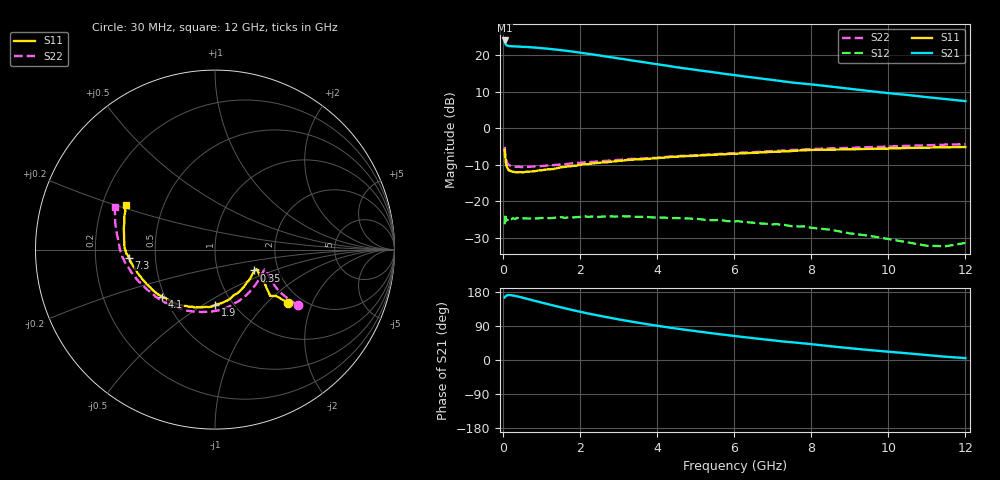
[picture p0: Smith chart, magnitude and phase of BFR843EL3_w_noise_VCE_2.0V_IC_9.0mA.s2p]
! Infineon Technologies  Discrete & RF Semiconductors
! BFR843EL3
! VCE =  2.0 V,  IC =  9.0 mA
! Common Emitter S-Parameters:  Aug 2013
# GHz  S  MA  R  50
!  f  S11  S21  S12  S22
! GHz  MAG  ANG  MAG  ANG  MAG  ANG  MAG  ANG
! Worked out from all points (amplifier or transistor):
!   103 points, 30 MHz to 12 GHz, reference 50 ohm
!   highest |S21| = 24.1 dB at 30 MHz (marker M1)
!   |S21| within 3 dB of that: start of sweep to 1.751 GHz
!   unconditionally stable (mu >= 1): 5.658 GHz to end of sweep
!   at 400 MHz: K = 0.99, MSG = 23.6 dB, |S12| = -24.8 dB
!   at 3.7 GHz: K = 0.84, MSG = 21.2 dB, |S12| = -24.3 dB
!   at 12 GHz: K = 3.49, MAG = 11.1 dB, |S12| = -31.5 dB
!   lowest NFmin = 0.88 dB at 450 MHz
!   S11 on the Smith chart (normalised r, x): 30 MHz: 1.69, -1.36; 350 MHz: 1.50, -0.37; 1.9 GHz: 0.83, -0.56; 4.1 GHz: 0.49, -0.30; 7.3 GHz: 0.35, -0.04; 12 GHz: 0.30, +0.22
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0.03  0.5054 -36.2  16.05 164.9  0.0481 32.9  0.5563 -33.9
0.04  0.4287 -37.1  15.15 166.1  0.0526 24.5  0.4779 -33.8
0.06  0.3328 -34.1  14.2 168.5  0.0532 9.7  0.3904 -31.3
0.1  0.2872 -29.8  13.65 170.9  0.0555 9.7  0.3355 -26.2
0.15  0.2681 -25.6  13.44 171.5  0.0553 6.7  0.3114 -23.0
0.2  0.256 -25.2  13.38 171.0  0.0563 4.3  0.3044 -21.9
0.35  0.2468 -28.1  13.27 168.1  0.0591 1.2  0.2953 -24.4
0.7  0.2551 -42.6  12.98 159.1  0.0577 1.6  0.2971 -37.5
1.2  0.2741 -64.8  12.29 146.2  0.0582 1.2  0.3101 -58.2
1.5  0.2918 -76.1  11.81 138.8  0.0605 0.9  0.318 -69.2
1.9  0.3081 -89.9  11.08 129.3  0.0602 0.4  0.3336 -82.1
2.1  0.3222 -95.9  10.7 124.9  0.062 -1.8  0.341 -89.0
2.5  0.3358 -106.6  9.977 116.7  0.0608 -2.1  0.352 -99.8
3  0.3575 -118.6  9.085 107.1  0.0617 -4.6  0.369 -111.4
3.5  0.3752 -128.7  8.285 98.3  0.0608 -6.6  0.3826 -121.7
4.1  0.3931 -138.1  7.427 88.8  0.0595 -8.8  0.3995 -131.4
5.1  0.4239 -152.1  6.222 74.7  0.0566 -11.9  0.4286 -145.8
6.1  0.4505 -163.2  5.282 62.2  0.0532 -14.2  0.4604 -157.2
7.3  0.4821 -174.7  4.382 48.5  0.0472 -16.9  0.4973 -169.1
8.5  0.5093 173.9  3.74 36.2  0.0405 -18.2  0.5307 179.5
10.5  0.5367 160.5  2.865 17.6  0.0272 -5.0  0.5746 165.2
12  0.5535 153.4  2.359 5.0  0.0267 29.7  0.6049 156.8
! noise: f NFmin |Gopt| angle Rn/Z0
0.45  0.88  0.07  46  0.12
0.9  0.9  0.08  59  0.12
1.5  0.92  0.09  69  0.12
1.9  0.94  0.09  73  0.12
2.4  0.95  0.1  86  0.12
3.5  0.99  0.12  103  0.12
5.5  1.05  0.17  137  0.11
8  1.12  0.28  173  0.08
10  1.18  0.4  211  0.06
